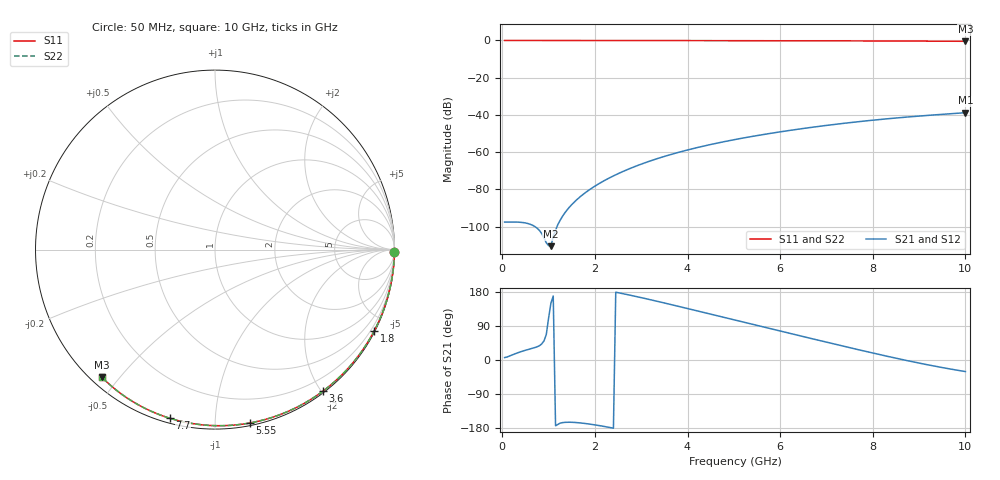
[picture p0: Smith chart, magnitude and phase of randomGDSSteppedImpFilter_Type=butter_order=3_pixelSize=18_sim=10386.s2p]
! freq	dB(S11)	phase(S11)	dB(S12)	phase(S12)
!  dB(S21)	phase(S21)	dB(S22)	phase(S22)
!S-par simulation data
#  GHz  S  DB  R 50
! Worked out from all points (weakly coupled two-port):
!   200 points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, 50 MHz to 10 GHz, reference 50 ohm
!   highest |S21| = -38.79 dB at 10 GHz (marker M1); lowest = -110.5 dB at 1.05 GHz (marker M2)
!   lowest |S11| = -0.4 dB at 10 GHz (marker M3), VSWR 39.00, Z = 1.54 - j22.4 ohm
!   |S11| at or under -10 dB: nowhere
!   |S22| runs from -0.4 to 0.0 dB; largest |S21 - S12| = 0
!   S11 on the Smith chart (normalised r, x): 50 MHz: open; 1.8 GHz: 0.04, -4.18; 3.6 GHz: 0.02, -2.02; 5.55 GHz: 0.02, -1.22; 7.7 GHz: 0.02, -0.77; 10 GHz: 0.03, -0.45
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0.05  -0.00 -0.8  -97.53 6.4  -97.53 6.4  -0.00 -0.8
0.55  -0.01 -8.3  -98.30 27.5  -98.30 27.5  -0.01 -8.3
1.05  -0.02 -15.8  -110.47 150.1  -110.47 150.1  -0.02 -15.8
1.75  -0.03 -26.2  -82.56 -166.9  -82.56 -166.9  -0.03 -26.2
1.8  -0.03 -26.9  -81.61 -167.7  -81.61 -167.7  -0.03 -26.9
1.9  -0.04 -28.4  -79.85 -169.4  -79.85 -169.4  -0.04 -28.4
2.05  -0.04 -30.6  -77.45 -172.2  -77.45 -172.2  -0.04 -30.6
2.25  -0.04 -33.5  -74.63 -176.5  -74.63 -176.5  -0.04 -33.5
2.65  -0.05 -39.3  -69.87 173.9  -69.87 173.9  -0.05 -39.3
3  -0.06 -44.2  -66.41 164.6  -66.41 164.6  -0.06 -44.2
3.4  -0.07 -49.9  -63.03 153.4  -63.03 153.4  -0.07 -49.9
3.6  -0.07 -52.6  -61.52 147.6  -61.52 147.6  -0.07 -52.6
3.9  -0.08 -56.8  -59.45 138.8  -59.45 138.8  -0.08 -56.8
4.3  -0.09 -62.2  -56.99 126.9  -56.99 126.9  -0.09 -62.2
5.05  -0.11 -72.2  -53.09 104.5  -53.09 104.5  -0.11 -72.2
5.55  -0.13 -78.6  -50.87 89.7  -50.87 89.7  -0.13 -78.6
6.1  -0.15 -85.6  -48.69 73.5  -48.69 73.5  -0.15 -85.6
6.7  -0.18 -93.0  -46.58 55.9  -46.58 55.9  -0.18 -93.0
7.7  -0.24 -105.0  -43.59 26.9  -43.59 26.9  -0.24 -105.0
8.35  -0.29 -112.6  -41.98 8.8  -41.98 8.8  -0.29 -112.6
9.15  -0.36 -121.9  -40.31 -11.8  -40.31 -11.8  -0.36 -121.9
10  -0.45 -131.6  -38.79 -30.5  -38.79 -30.5  -0.45 -131.6
